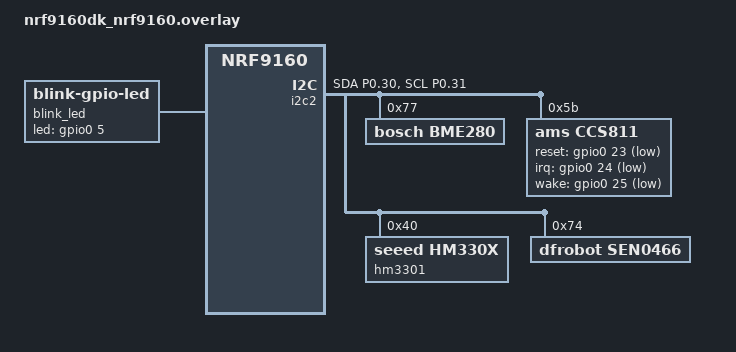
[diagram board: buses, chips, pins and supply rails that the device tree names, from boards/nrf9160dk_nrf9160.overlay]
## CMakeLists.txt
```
#-------------------------------------------------------------------------------
# Zephyr Fire Detection System
#
# Copyright (c) 2025 Natalia Pluta
# SPDX-License-Identifier: Apache-2.0

cmake_minimum_required(VERSION 3.13.1)
find_package(Zephyr REQUIRED HINTS $ENV{ZEPHYR_BASE})

project(app LANGUAGES C)

target_sources(app PRIVATE 
    src/main.c
)

# Include modules
add_subdirectory(src/modules/controller)
add_subdirectory(src/modules/sensor)
add_subdirectory(src/modules/network)
add_subdirectory(src/modules/cloud)

# Add include directories for modules
target_include_directories(app PRIVATE src)
```

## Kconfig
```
# Copyright (c) 2025 Natalia Pluta
# SPDX-License-Identifier: Apache-2.0
#
# This file is the application Kconfig entry point. All application Kconfig
# options can be defined here or included via other application Kconfig files.
# You can browse these options using the west targets menuconfig (terminal) or
# guiconfig (GUI).

menu "Zephyr"
source "Kconfig.zephyr"
endmenu

menu "Application Configuration"

# Include sensor module configuration
rsource "src/modules/sensor/Kconfig.sensor"

# Include controller module configuration
rsource "src/modules/controller/Kconfig.controller"

# Include network module configuration
rsource "src/modules/network/Kconfig.network"

# Include cloud module configuration
rsource "src/modules/cloud/Kconfig.cloud"

endmenu

module = APP
module-str = APP
source "subsys/logging/Kconfig.template.log_config"
```

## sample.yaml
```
# This file is provided so that the application can be compiled using Twister,
# the Zephyr testing tool. In this file, multiple combinations can be specified,
# so that you can easily test all of them locally or in CI.
sample:
  description: Fire Detection System
  name: fire-detection-system
common:
  sysbuild: true
  build_only: true
  integration_platforms:
    - nrf9160dk/nrf9160/ns
tests:
  app.default: {}
  app.debug:
    extra_overlay_confs:
      - debug.conf
```

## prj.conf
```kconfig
# Copyright (c) 2025 Natalia Pluta
# SPDX-License-Identifier: Apache-2.0
#
# This file contains selected Kconfig options for the application.

# Enable logging with debug level
# CONFIG_NET_LOG=y
# CONFIG_NRF_CLOUD_LOG_LEVEL_DBG=y
# CONFIG_CLOUD_MODULE_LOG_LEVEL_DBG=y
# CONFIG_NRF_CLOUD_COAP_LOG_LEVEL_DBG=y
# CONFIG_MODEM_KEY_MGMT_LOG_LEVEL_DBG=y
# CONFIG_LOG_BUFFER_SIZE=10000

CONFIG_LOG=y
CONFIG_BLINK=y
CONFIG_HEAP_MEM_POOL_SIZE=10240

# Enable I2C and sensor subsystem for multiple sensors
CONFIG_I2C=y
CONFIG_SENSOR=y
CONFIG_BME280=y
CONFIG_CCS811=y
CONFIG_CCS811_ENV_COMPENSATION=y
CONFIG_HM330X=y
CONFIG_SEN0466=y

# Zephyr State Machine Framework
CONFIG_SMF=y
CONFIG_SMF_ANCESTOR_SUPPORT=y
CONFIG_SMF_INITIAL_TRANSITION=y

# Enable ZBUS for inter-module communication
CONFIG_ZBUS=y
CONFIG_ZBUS_MSG_SUBSCRIBER=y
CONFIG_ZBUS_CHANNEL_NAME=y
CONFIG_ZBUS_OBSERVER_NAME=y
CONFIG_ZBUS_MSG_SUBSCRIBER_NET_BUF_POOL_SIZE=64

# Enable application modules
CONFIG_SENSOR_MODULE=y
CONFIG_CONTROLLER_MODULE=y
CONFIG_NETWORK_MODULE=y

# Network module configuration
CONFIG_NETWORK_MODULE_SHELL=y
CONFIG_NETWORK_MODULE_STACK_SIZE=2048
CONFIG_NETWORK_MODULE_WATCHDOG_TIMEOUT_SECONDS=600
CONFIG_NETWORK_MODULE_MSG_PROCESSING_TIMEOUT_SECONDS=570
CONFIG_NETWORK_MODULE_SEARCH_NETWORK_ON_STARTUP=y

# LTE Link Control and Modem libraries
CONFIG_LTE_LINK_CONTROL=y
CONFIG_LTE_LC_PSM_MODULE=y
CONFIG_LTE_LC_EDRX_MODULE=y
CONFIG_LTE_LC_CONN_EVAL_MODULE=y

# Nordic Modem Library
CONFIG_NRF_MODEM_LIB=y
CONFIG_NRF_MODEM_LIB_NET_IF=y
CONFIG_NRF_MODEM_LIB_NET_IF_AUTO_DOWN=y
CONFIG_NRF_MODEM_LIB_NET_IF_DOWN_DEFAULT_LTE_DISCONNECT=y

# Networking - LTE offloaded sockets
CONFIG_NETWORKING=y
CONFIG_NET_SOCKETS=y
CONFIG_NET_SOCKETS_OFFLOAD=y
CONFIG_POSIX_API=y
CONFIG_NET_IPV4=y
CONFIG_NET_IPV6=y
CONFIG_NET_IPV6_NBR_CACHE=n
CONFIG_NET_IPV6_MLD=n

# Connection Manager
CONFIG_NET_CONNECTION_MANAGER=y
CONFIG_NET_CONNECTION_MANAGER_MONITOR_STACK_SIZE=512

# Needed due to using connectivity manager
CONFIG_NET_IF_MAX_IPV6_COUNT=2
CONFIG_NET_IF_MAX_IPV4_COUNT=2

# Network statistics (useful for debugging)
CONFIG_NET_STATISTICS=y
CONFIG_NET_STATISTICS_USER_API=y
CONFIG_NET_CONTEXT_SYNC_RECV=y

# nRF Cloud
CONFIG_NRF_CLOUD=y
CONFIG_NRF_CLOUD_COAP=y
CONFIG_NRF_CLOUD_COAP_DISCONNECT_ON_FAILED_REQUEST=y
CONFIG_NRF_CLOUD_PRINT_DETAILS=y
CONFIG_NRF_CLOUD_SEND_DEVICE_STATUS=y
CONFIG_NRF_CLOUD_SEND_DEVICE_STATUS_NETWORK=y
CONFIG_NRF_CLOUD_SEND_DEVICE_STATUS_SIM=y
CONFIG_NRF_CLOUD_SEND_SERVICE_INFO_FOTA=y

# Modem
CONFIG_MODEM_JWT=y
CONFIG_MODEM_INFO=y
CONFIG_MODEM_INFO_ADD_DEVICE=y
CONFIG_MODEM_KEY_MGMT=y


# Credentials
CONFIG_NRF_CLOUD_CLIENT_ID_SRC_IMEI=y       # Use IMEI for Client ID as INTERNAL_UUID requires nRF91x1
CONFIG_NRF_CLOUD_CHECK_CREDENTIALS=y
CONFIG_NRF_CLOUD_CREDENTIALS_MGMT_MODEM=y

# COAP client
CONFIG_COAP=y
CONFIG_COAP_CLIENT=y
CONFIG_COAP_MAX_RETRANSMIT=5
CONFIG_COAP_INIT_ACK_TIMEOUT_MS=5000
# Set CoAP therad to same priority as other modules
CONFIG_COAP_CLIENT_THREAD_PRIORITY=14
CONFIG_COAP_CLIENT_BLOCK_SIZE=1024
CONFIG_COAP_CLIENT_MESSAGE_SIZE=1024
CONFIG_COAP_CLIENT_STACK_SIZE=1280
CONFIG_COAP_EXTENDED_OPTIONS_LEN_VALUE=192
CONFIG_NRF_CLOUD_COAP_DOWNLOADS=y

# Downloader support (required by NRF_CLOUD_COAP_DOWNLOADS)
CONFIG_DOWNLOADER=y

# needed for processing floats
CONFIG_PICOLIBC=y
CONFIG_FPU=y

# Date and time configuration
CONFIG_DATE_TIME=y
CONFIG_DATE_TIME_MODEM=y
CONFIG_DATE_TIME_AUTO_UPDATE=y

# AT Monitor configuration to prevent heap exhaustion
CONFIG_AT_MONITOR=y
CONFIG_AT_MONITOR_HEAP_SIZE=2048

# Shell configuration
CONFIG_UART_INTERRUPT_DRIVEN=y
CONFIG_SHELL=y
CONFIG_SHELL_WILDCARD=n
CONFIG_SHELL_STACK_SIZE=2048
CONFIG_SHELL_CMD_BUFF_SIZE=2048
CONFIG_SHELL_BACKEND_SERIAL_RX_RING_BUFFER_SIZE=2048
CONFIG_AT_SHELL=y

# Task Watchdog
CONFIG_TASK_WDT=y
CONFIG_TASK_WDT_CHANNELS=8
CONFIG_TASK_WDT_MIN_TIMEOUT=10000
```

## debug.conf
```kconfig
# Copyright (c) 2025 Natalia Pluta
# SPDX-License-Identifier: Apache-2.0
#
# This is a Kconfig fragment which can be used to enable debug-related options
# in the application. See the README for more details.

# compiler
CONFIG_DEBUG_OPTIMIZATIONS=y

# logging
CONFIG_LOG=y
CONFIG_APP_LOG_LEVEL_DBG=y
```

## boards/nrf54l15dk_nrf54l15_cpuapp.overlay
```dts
/*
 * Copyright (c) 2025 Nordic Semiconductor ASA
 * SPDX-License-Identifier: Apache-2.0
 */

/* This devicetree overlay file will be automatically picked by the Zephyr
 * build system when building the sample for the nRF54l15 DK (cpuapp) board.
 * It shows how the fire-detection-system can be built on sample boards
 * already provided by Zephyr or NCS.
 */

/ {
	example_sensor: example-sensor {
		compatible = "zephyr,example-sensor";
		input-gpios = <&gpio1 13 (GPIO_PULL_UP | GPIO_ACTIVE_LOW)>;
	};

	blink_led: blink-led {
		compatible = "blink-gpio-led";
		led-gpios = <&gpio2 9 GPIO_ACTIVE_HIGH>;
		blink-period-ms = <1000>;
	};
};
```

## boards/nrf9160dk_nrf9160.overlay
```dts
/*
 * Copyright (c) 2025 Natalia Pluta
 * SPDX-License-Identifier: Apache-2.0
 */

&pinctrl {
	i2c2_default_alt: i2c2_default_alt {
		group1 {
			psels = <NRF_PSEL(TWIM_SDA, 0, 30)>,
					<NRF_PSEL(TWIM_SCL, 0, 31)>;
		};
	};

	i2c2_sleep_alt: i2c2_sleep_alt {
		group1 {
			psels = <NRF_PSEL(TWIM_SDA, 0, 30)>,
					<NRF_PSEL(TWIM_SCL, 0, 31)>;
			low-power-enable;
		};
	};
};

&i2c2 {
	status = "okay";
	pinctrl-0 = <&i2c2_default_alt>;
	pinctrl-1 = <&i2c2_sleep_alt>;
	pinctrl-names = "default", "sleep";
	
	bme280: bme280@77 {
		compatible = "bosch,bme280";
		reg = <0x77>;
		status = "okay";
	};
	
	ccs811: ccs811@5b {
		compatible = "ams,ccs811";
		reg = <0x5b>;
		status = "okay";
		reset-gpios = <&gpio0 23 GPIO_ACTIVE_LOW>;
		irq-gpios = <&gpio0 24 GPIO_ACTIVE_LOW>;
		wake-gpios = <&gpio0 25 GPIO_ACTIVE_LOW>;
	};
	
	hm3301: hm3301@40 {
		compatible = "seeed,hm330x";
		reg = <0x40>;
		status = "okay";
	};

	sen0466: sen0466@74 {
		compatible = "dfrobot,sen0466";
		reg = <0x74>;
		status = "okay";
	};
};

/ {
	blink_led: blink-led {
		compatible = "blink-gpio-led";
		led-gpios = <&gpio0 5 GPIO_ACTIVE_HIGH>; // Green LED 4 on the nRF9160 DK
		blink-period-ms = <1000>;
	};
};
```

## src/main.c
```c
/*
 * Copyright (c) 2025 Natalia Pluta
 * SPDX-License-Identifier: Apache-2.0
 */

#include <zephyr/kernel.h>
#include <zephyr/logging/log.h>

#include <app/drivers/blink.h>
#include <app_version.h>

#include <modules/controller/controller_module.h>

LOG_MODULE_REGISTER(main, CONFIG_APP_LOG_LEVEL);

/* Sleep duration for main loop */
#define MAIN_LOOP_SLEEP_SECONDS 100U

/* Function prototypes */
static int init_blink_led(const struct device **blink);

static int init_blink_led(const struct device **blink)
{
	*blink = DEVICE_DT_GET(DT_NODELABEL(blink_led));
	if (!device_is_ready(*blink)) {
		LOG_ERR("Blink LED not ready");
		return -ENODEV;
	}

	int ret = blink_off(*blink);
	if (ret < 0) {
		LOG_ERR("Could not turn off LED (%d)", ret);
		return ret;
	}

	LOG_INF("Blink LED initialized successfully");
	return 0;
}

int main(void)
{
	int ret;
	const struct device *blink;

	LOG_INF("Zephyr Fire Detection System %s", APP_VERSION_STRING);

	/* Initialize blink LED */
	ret = init_blink_led(&blink);
	if (ret < 0) {
		LOG_ERR("Blink LED initialization failed");
		return 0;
	}

	/* Wait a moment for threads to start up, then start sampling */
	k_sleep(K_MSEC(1000));

	/* Start data sampling */
	ret = controller_module_start_sampling();
	if (ret < 0) {
		LOG_ERR("Failed to start sampling");
		return 0;
	}

	LOG_INF("Data sampling started");

	while (1) {
		k_sleep(K_SECONDS(MAIN_LOOP_SLEEP_SECONDS));
	}

	return 0;
}
```

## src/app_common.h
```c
/*
 * Copyright (c) 2024 Nordic Semiconductor ASA
 *
 * SPDX-License-Identifier: LicenseRef-Nordic-5-Clause
 */

#ifndef _APP_COMMON_H_
#define _APP_COMMON_H_

#include <zephyr/kernel.h>
#include <zephyr/logging/log_ctrl.h>
#include <zephyr/sys/util.h> /* For Zephyr's utility macros, including MAX */
#if defined(CONFIG_MEMFAULT)
#include <memfault/panics/assert.h>
#endif

#ifdef __cplusplus
extern "C" {
#endif

/** @brief Handle fatal error.
 *  @param is_watchdog_timeout Boolean indicating if the macro was called upon a watchdog timeout.
 */
#define FATAL_ERROR_HANDLE(is_watchdog_timeout)                                                    \
	do {                                                                                       \
		LOG_PANIC();                                                                       \
		if (is_watchdog_timeout) {                                                         \
			IF_ENABLED(CONFIG_MEMFAULT, (MEMFAULT_SOFTWARE_WATCHDOG()));                \
		}                                                                                  \
		k_sleep(K_SECONDS(10));                                                            \
		__ASSERT(false, "SEND_FATAL_ERROR() macro called");                                \
	} while (0)

/** @brief Macro used to handle fatal errors. */
#define SEND_FATAL_ERROR() FATAL_ERROR_HANDLE(0)

/** @brief Macro used to handle watchdog timeouts. */
#define SEND_FATAL_ERROR_WATCHDOG_TIMEOUT() FATAL_ERROR_HANDLE(1)

/* Helper macros for computing MAX with different numbers of arguments */
#define MAX_1(a1)                                 (a1)
#define MAX_2(a1, a2)                             MAX(a1, a2)
#define MAX_3(a1, a2, a3)                         MAX(MAX_2(a1, a2), a3)
#define MAX_4(a1, a2, a3, a4)                     MAX(MAX_3(a1, a2, a3), a4)
#define MAX_5(a1, a2, a3, a4, a5)                 MAX(MAX_4(a1, a2, a3, a4), a5)
#define MAX_6(a1, a2, a3, a4, a5, a6)             MAX(MAX_5(a1, a2, a3, a4, a5), a6)
#define MAX_7(a1, a2, a3, a4, a5, a6, a7)         MAX(MAX_6(a1, a2, a3, a4, a5, a6), a7)
#define MAX_8(a1, a2, a3, a4, a5, a6, a7, a8)     MAX(MAX_7(a1, a2, a3, a4, a5, a6, a7), a8)
#define MAX_9(a1, a2, a3, a4, a5, a6, a7, a8, a9) MAX(MAX_8(a1, a2, a3, a4, a5, a6, a7, a8), a9)
#define MAX_10(a1, a2, a3, a4, a5, a6, a7, a8, a9, a10)                                            \
	MAX(MAX_9(a1, a2, a3, a4, a5, a6, a7, a8, a9), a10)

#define SELECT_MAX_N(N) CONCAT(MAX_, N)

/**
 * @brief Macro to compute the maximum of a list of numbers.
 *
 * @param ... List of numbers to compute the maximum of.
 */
#define MAX_N(...) SELECT_MAX_N(NUM_VA_ARGS(__VA_ARGS__))(__VA_ARGS__)

/**
 * @brief Helper macro for computing the size of a type.
 * The intended use is with X macros to generate a list of sizes for each type in a list of types.
 *
 * @param _chan Channel to compute the size of the type for.
 * @param _type Type to compute the size of.
 *
 * @return Size of the type.
 */
#define SIZE_OF_TYPE(_chan, _type) sizeof(_type),

/**
 * @brief Macro to compute the maximum message size from a list of channel date types.
 *	  The macro expands to a list of sizeof(type) for each channel's type, followed by a 0 to
 *	  account for the trailing comma when expanding SIZE_OF_TYPE
 *	  The MAX_N macro is used to find the maximum value in the list.
 *	  Example: MAX_N(sizeof(struct cloud_msg), sizeof(enum fota_msg_type), 0)

 * @param _CHAN_LIST List of channels to compute the maximum message size from.
 *		     The list should be in the format: (CHANNEL_NAME, type)
 *
 * @return Maximum message size from the list of channels
 */
#define MAX_MSG_SIZE_FROM_LIST(_CHAN_LIST) MAX_N(_CHAN_LIST(SIZE_OF_TYPE) 0)

#ifdef __cplusplus
}
#endif

#endif /* _APP_COMMON_H_ */
```

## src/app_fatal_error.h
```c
/*
 * Copyright (c) 2025 Natalia Pluta
 * SPDX-License-Identifier: Apache-2.0
 */

#ifndef APP_FATAL_ERROR_H
#define APP_FATAL_ERROR_H

#include <zephyr/kernel.h>
#include <zephyr/logging/log.h>

#ifdef __cplusplus
extern "C" {
#endif

/**
 * @brief Send fatal error signal
 *
 * This macro logs a fatal error and triggers a system halt.
 * It's used throughout the application modules when unrecoverable
 * errors occur.
 */
#define SEND_FATAL_ERROR()                                                                         \
	do {                                                                                       \
		LOG_ERR("FATAL ERROR at %s:%d", __FILE__, __LINE__);                               \
		k_panic();                                                                         \
	} while (0)

/**
 * @brief Send fatal error signal with watchdog timeout
 *
 * This macro logs a fatal error due to watchdog timeout and triggers
 * a system halt.
 */
#define SEND_FATAL_ERROR_WATCHDOG_TIMEOUT()                                                        \
	do {                                                                                       \
		LOG_ERR("FATAL ERROR: Watchdog timeout at %s:%d", __FILE__, __LINE__);             \
		k_panic();                                                                         \
	} while (0)

#ifdef __cplusplus
}
#endif

#endif /* APP_FATAL_ERROR_H */
```
